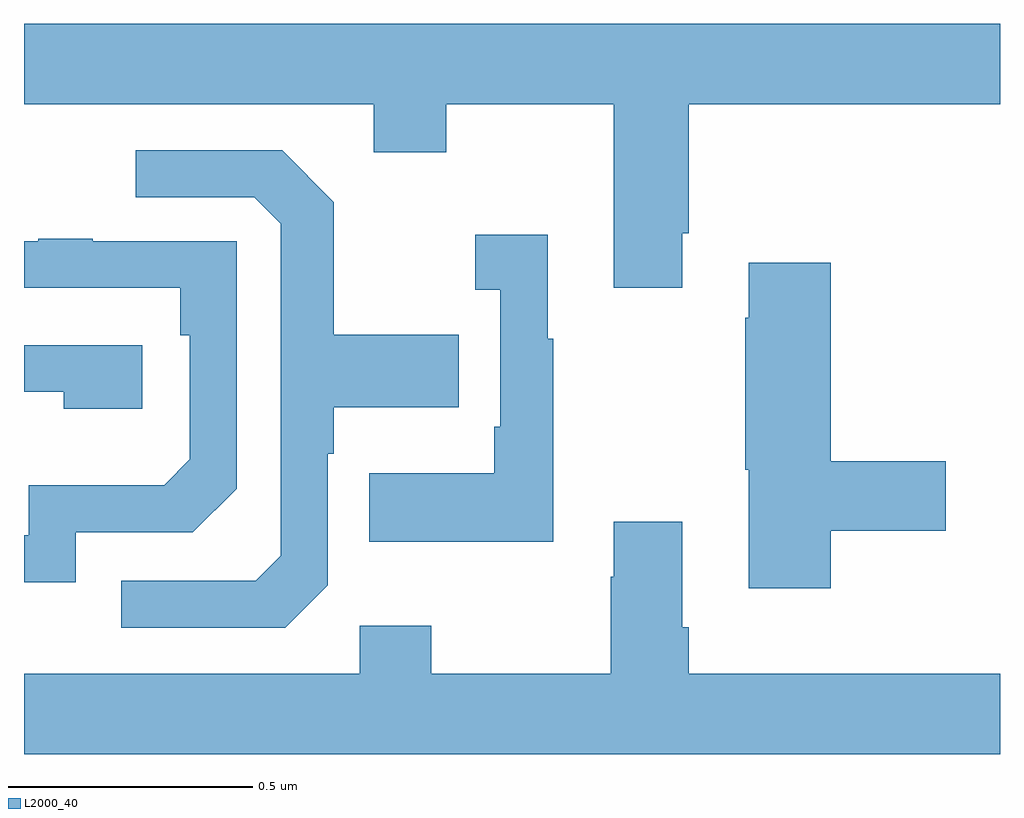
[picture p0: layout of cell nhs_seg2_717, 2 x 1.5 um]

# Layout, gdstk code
import gdstk
lib = gdstk.Library(unit=1e-6, precision=1e-09)
def P(c, l, *ps):  # polygons
    for p in ps: c.add(gdstk.Polygon(p, *l))
L2000_40 = (2000, 40)

nhs_seg2_717 = lib.new_cell('nhs_seg2_717')
P(nhs_seg2_717, L2000_40, [(120.349,658.027),(120.362,658.027),(120.362,658.292),(121,658.292),(121,658.456),(119,658.456),(119,658.292),(119.717,658.292),(119.717,658.193),(119.865,658.193),(119.865,658.292),(120.209,658.292),(120.209,657.915),(120.349,657.915)],
  [(119.622,657.306),(119.622,657.575),(119.635,657.575),(119.635,657.671),(119.891,657.671),(119.891,657.819),(119.635,657.819),(119.635,658.091),(119.529,658.197),(119.229,658.197),(119.229,658.101),(119.472,658.101),(119.526,658.047),(119.526,657.366),(119.475,657.315),(119.199,657.315),(119.199,657.219),(119.535,657.219)],
  [(120.085,657.811),(120.073,657.811),(120.073,658.024),(119.925,658.024),(119.925,657.911),(119.976,657.911),(119.976,657.631),(119.964,657.631),(119.964,657.535),(119.707,657.535),(119.707,657.395),(120.085,657.395)],
  [(119.106,657.414),(119.346,657.414),(119.436,657.504),(119.436,658.011),(119.141,658.011),(119.141,658.016),(119.029,658.016),(119.029,658.011),(119,658.011),(119,657.915),(119.32,657.915),(119.32,657.818),(119.34,657.818),(119.34,657.564),(119.287,657.511),(119.01,657.511),(119.01,657.408),(119,657.408),(119,657.312),(119.106,657.312)],
  [(120.653,657.418),(120.889,657.418),(120.889,657.56),(120.653,657.56),(120.653,657.967),(120.485,657.967),(120.485,657.854),(120.478,657.854),(120.478,657.543),(120.485,657.543),(120.485,657.3),(120.653,657.3)],
  [(119.242,657.798),(119,657.798),(119,657.702),(119.081,657.702),(119.081,657.668),(119.242,657.668)],
  [(121,657.124),(120.362,657.124),(120.362,657.22),(120.349,657.22),(120.349,657.436),(120.209,657.436),(120.209,657.323),(120.202,657.323),(120.202,657.124),(119.835,657.124),(119.835,657.223),(119.688,657.223),(119.688,657.124),(119,657.124),(119,656.96),(121,656.96)])

lib.write_gds('nhs_seg2_717.gds')
